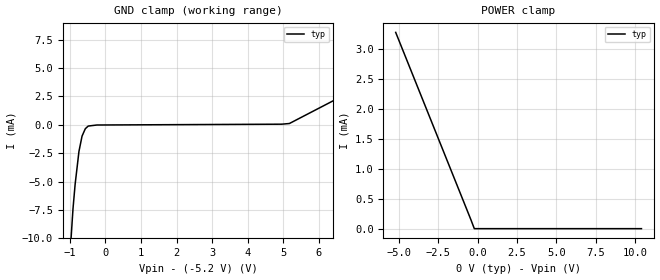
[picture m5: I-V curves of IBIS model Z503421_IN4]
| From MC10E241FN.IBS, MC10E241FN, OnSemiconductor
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| (C) COPYRIGHT 1993-2000
| MENTOR GRAPHICS CORPORATION
| ICX STANDARD LIBRARY, ICX PROJECT MODELING,
| ICX CUSTOM MODELING, ICX VENDOR MODEL
| ALL RIGHTS RESERVED.
| THE FOLLOWING ARE TRADEMARKS OR SERVICE MARKS OF
| MENTOR GRAPHICS CORPORATION:ICX (R), ICX STANDARD
| LIBRARY(R), ICX PROJECT MODELING(R), ICX CUSTOM
| MODELING(R), qualityIBIS(TM), MODELVIEWER(TM),
| AND MODELEDITOR(TM)
| ALL COPIES OF SOFTWARE, INCLUDING BUT NOT LIMITED TO
| ANY MODIFICATIONS, ENHANCEMENTS OR DERIVATIVE WORKS,
| MUST CONTAIN ALL MENTOR GRAPHICS CORPORATION'S
| NOTICES AND LEGENDS, INCLUDING THOSE EMBEDDED IN
| SOFTWARE AND THOSE AFFIXED TO SOFTWARE MEDIUM
| AND CONTAINER, AS RECEIVED FROM MENTOR GRAPHICS
| CORPORATION.
| Model Application Version 1.89 2/18/99.
[Model] Z503421_IN4
Model_type Input_ECL
Vinl = -1.480V
Vinh = -1.130V
C_comp 4.000pF NA NA
| variable typ   min   max
[Voltage Range] -5.200V NA NA
[GND Clamp Reference] -5.200V NA NA
[POWER Clamp Reference] 0.000V NA NA
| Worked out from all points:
|   GND clamp passes 1 mA (typ) near -0.66 V on its own axis
[GND Clamp]
-5.2V     -287.8mA   NA         NA
-1.06V    -14.47mA   NA         NA
-913mV    -7.4mA     NA         NA
-853mV    -5.245mA   NA         NA
-745mV    -2.339mA   NA         NA
-658mV    -995.3uA   NA         NA
-566mV    -345uA     NA         NA
-484mV    -112.7uA   NA         NA
-242mV    -20uA      NA         NA
4.954V    52.23uA    NA         NA
5.171V    111.4uA    NA         NA
10.4V     8.608mA    NA         NA
[POWER Clamp]
-5.2V     3.279mA    NA         NA
-420mV    145.4uA    NA         NA
-210mV    0A         NA         NA
10.4V     0A         NA         NA
